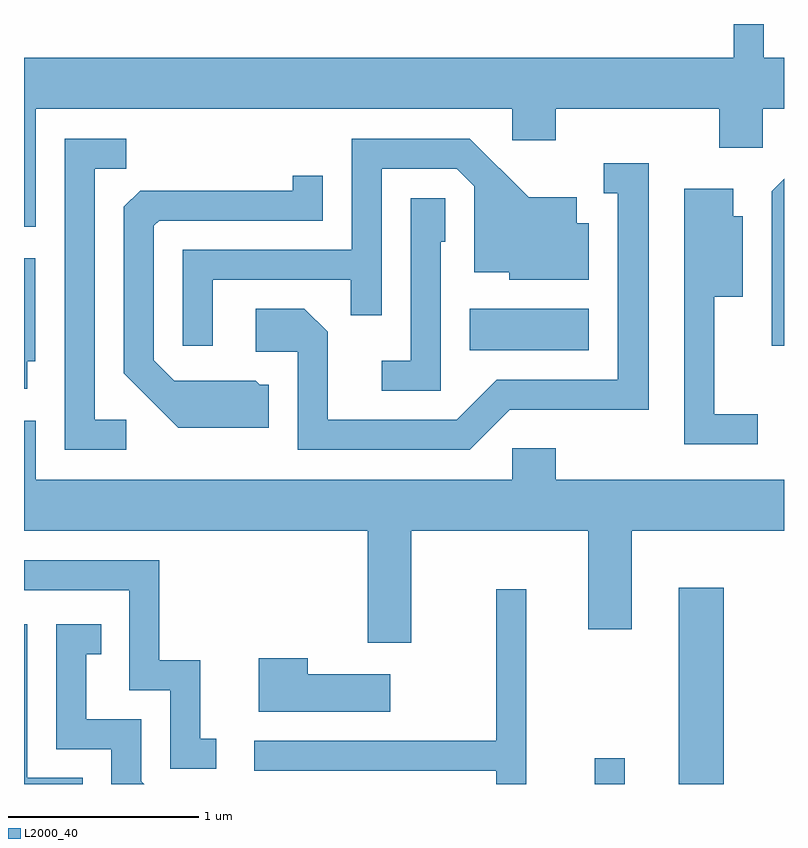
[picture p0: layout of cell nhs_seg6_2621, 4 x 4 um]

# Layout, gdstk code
import gdstk
lib = gdstk.Library(unit=1e-6, precision=1e-09)
def R(c, l, rs):  # rectangles x0, y0, x1, y1
    for r in rs: c.add(gdstk.rectangle(r[:2], r[2:], *l))
def P(c, l, *ps):  # polygons
    for p in ps: c.add(gdstk.Polygon(p, *l))
L2000_40 = (2000, 40)

nhs_seg6_2621 = lib.new_cell('nhs_seg6_2621')
R(nhs_seg6_2621, L2000_40, [(266.616,1644.162,266.774,1644.298), (267.056,1644.162,267.294,1645.194), (265.956,1646.446,266.584,1646.664)])
P(nhs_seg6_2621, L2000_40, [(263.674,1647.716),(266.181,1647.716),(266.181,1647.551),(266.409,1647.551),(266.409,1647.716),(267.271,1647.716),(267.271,1647.511),(267.499,1647.511),(267.499,1647.716),(267.611,1647.716),(267.611,1647.984),(267.504,1647.984),(267.504,1648.162),(267.346,1648.162),(267.346,1647.984),(263.611,1647.984),(263.611,1647.096),(263.674,1647.096)],
  [(264.148,1646.079),(263.984,1646.079),(263.984,1647.401),(264.148,1647.401),(264.148,1647.559),(263.826,1647.559),(263.826,1645.921),(264.148,1645.921)],
  [(264.604,1646.816),(265.331,1646.816),(265.331,1646.628),(265.494,1646.628),(265.494,1647.401),(265.889,1647.401),(265.981,1647.309),(265.981,1646.856),(266.166,1646.856),(266.166,1646.816),(266.584,1646.816),(266.584,1647.114),(266.519,1647.114),(266.519,1647.249),(266.267,1647.249),(265.957,1647.559),(265.336,1647.559),(265.336,1646.974),(264.446,1646.974),(264.446,1646.468),(264.604,1646.468)],
  [(266.167,1646.131),(266.899,1646.131),(266.899,1647.429),(266.663,1647.429),(266.663,1647.271),(266.736,1647.271),(266.736,1646.289),(266.099,1646.289),(265.889,1646.079),(265.209,1646.079),(265.209,1646.542),(265.087,1646.664),(264.831,1646.664),(264.831,1646.436),(265.051,1646.436),(265.051,1645.921),(265.957,1645.921)],
  [(264.899,1646.264),(264.852,1646.264),(264.832,1646.284),(264.402,1646.284),(264.294,1646.392),(264.294,1647.099),(264.322,1647.126),(265.184,1647.126),(265.184,1647.363),(265.026,1647.363),(265.026,1647.284),(264.222,1647.284),(264.136,1647.199),(264.136,1646.324),(264.424,1646.036),(264.899,1646.036)],
  [(267.611,1647.347),(267.546,1647.282),(267.546,1646.468),(267.611,1646.468)],
  [(267.473,1646.109),(267.244,1646.109),(267.244,1646.726),(267.394,1646.726),(267.394,1647.149),(267.344,1647.149),(267.344,1647.294),(267.086,1647.294),(267.086,1645.951),(267.473,1645.951)],
  [(265.804,1647.016),(265.829,1647.016),(265.829,1647.244),(265.646,1647.244),(265.646,1646.389),(265.493,1646.389),(265.493,1646.231),(265.804,1646.231)],
  [(263.629,1646.386),(263.669,1646.386),(263.669,1646.929),(263.611,1646.929),(263.611,1646.241),(263.629,1646.241)],
  [(265.649,1645.496),(266.581,1645.496),(266.581,1644.976),(266.809,1644.976),(266.809,1645.496),(267.611,1645.496),(267.611,1645.764),(266.409,1645.764),(266.409,1645.929),(266.181,1645.929),(266.181,1645.764),(263.674,1645.764),(263.674,1646.074),(263.611,1646.074),(263.611,1645.496),(265.421,1645.496),(265.421,1644.906),(265.649,1644.906)],
  [(264.623,1644.399),(264.539,1644.399),(264.539,1644.814),(264.324,1644.814),(264.324,1645.339),(263.611,1645.339),(263.611,1645.181),(264.166,1645.181),(264.166,1644.656),(264.381,1644.656),(264.381,1644.241),(264.623,1644.241)],
  [(266.254,1645.188),(266.096,1645.188),(266.096,1644.389),(264.823,1644.389),(264.823,1644.231),(266.096,1644.231),(266.096,1644.162),(266.254,1644.162)],
  [(263.919,1644.194),(263.629,1644.194),(263.629,1645.004),(263.611,1645.004),(263.611,1644.162),(263.919,1644.162)],
  [(264.229,1644.177),(264.229,1644.504),(263.939,1644.504),(263.939,1644.846),(264.018,1644.846),(264.018,1645.004),(263.781,1645.004),(263.781,1644.346),(264.071,1644.346),(264.071,1644.162),(264.244,1644.162)],
  [(265.539,1644.739),(265.104,1644.739),(265.104,1644.824),(264.846,1644.824),(264.846,1644.541),(265.539,1644.541)])

lib.write_gds('nhs_seg6_2621.gds')
